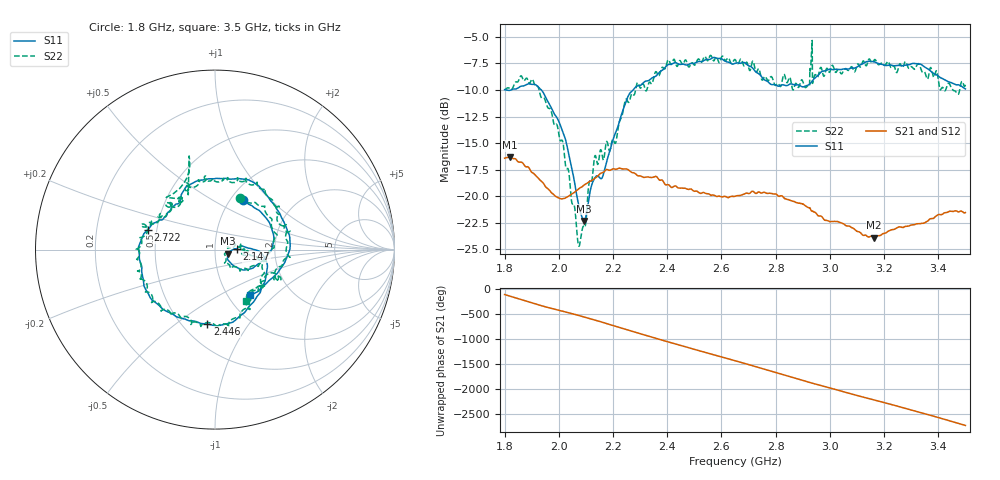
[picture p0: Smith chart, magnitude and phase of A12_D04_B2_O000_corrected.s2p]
! Created with skrf 1.9.0 (http://scikit-rf.org).
# Hz S RI R 50.0
!freq ReS11 ImS11 ReS21 ImS21 ReS12 ImS12 ReS22 ImS22
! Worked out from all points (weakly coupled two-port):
!   1601 points, 1.8 GHz to 3.5 GHz, reference 50 ohm
!   highest |S21| = -16.34 dB at 1.818 GHz (marker M1); lowest = -23.9 dB at 3.163 GHz (marker M2)
!   lowest |S11| = -22.4 dB at 2.093 GHz (marker M3), VSWR 1.17, Z = 57.8 - j2.71 ohm
!   |S11| at or under -10 dB: 1.806 GHz to 1.824 GHz (17.76 MHz wide, 0.979 % of centre); 1.935 GHz to 2.274 GHz (338.7 MHz wide, 16.1 % of centre)
!   |S22| runs from -24.7 to -5.3 dB; largest |S21 - S12| = 0.0025
!   S11 on the Smith chart (normalised r, x): 1.8 GHz: 1.13, +0.70; 2.147 GHz: 1.28, +0.01; 2.446 GHz: 0.66, -0.66; 2.722 GHz: 0.45, +0.12; 3.5 GHz: 1.26, -0.71
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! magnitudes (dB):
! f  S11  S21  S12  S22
! 1.8 GHz  -10.0  -16.4  -16.4  -9.9
! 1.818 GHz  -10.0  -16.3  -16.4  -9.8
! 1.903 GHz  -9.5  -17.8  -17.8  -9.0
! 1.968 GHz  -11.5  -19.5  -19.6  -11.8
! 2.023 GHz  -14.5  -20.2  -20.2  -16.8
! 2.071 GHz  -20.6  -19.4  -19.4  -24.4
! 2.084 GHz  -21.8  -19.2  -19.1  -23.5
! 2.093 GHz  -22.4  -19.0  -19.0  -22.8
! 2.129 GHz  -18.4  -18.4  -18.4  -16.8
! 2.147 GHz  -18.2  -18.0  -18.0  -16.6
! 2.209 GHz  -14.0  -17.5  -17.4  -15.0
! 2.259 GHz  -10.4  -17.6  -17.6  -11.1
! 2.367 GHz  -8.4  -18.4  -18.3  -8.6
! 2.446 GHz  -7.6  -19.3  -19.2  -7.2
! 2.65 GHz  -7.5  -20.0  -20.0  -7.1
! 2.722 GHz  -8.2  -19.7  -19.6  -7.8
! 2.867 GHz  -9.5  -20.5  -20.5  -9.9
! 2.917 GHz  -9.6  -21.0  -21.0  -9.6
! 2.934 GHz  -9.2  -21.4  -21.4  -5.8
! 3.163 GHz  -7.3  -23.9  -23.9  -7.2
! 3.217 GHz  -7.7  -23.3  -23.2  -7.4
! 3.5 GHz  -9.9  -21.6  -21.5  -9.5
